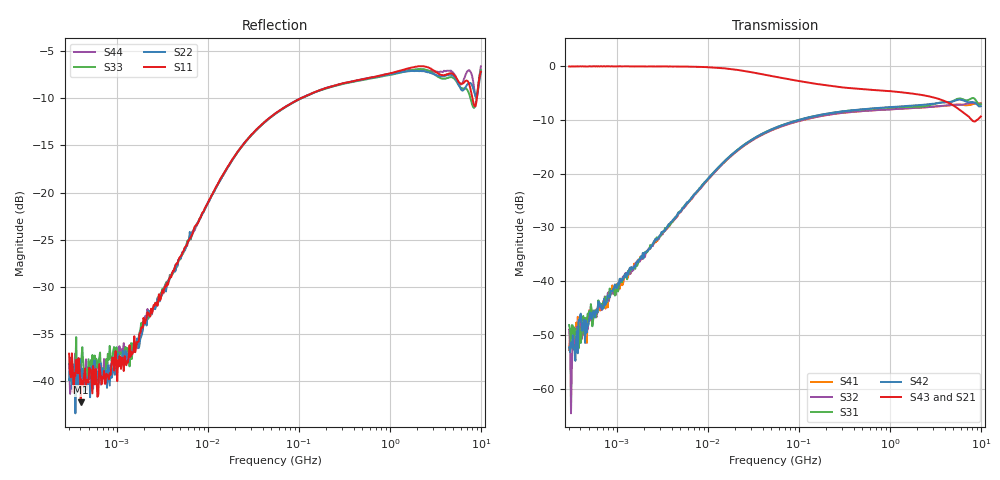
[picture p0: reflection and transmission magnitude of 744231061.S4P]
! This data is being provided by Wuerth Elektronik eiSos GmbH & Co. KG to the industry for analysis.
! Document information:
! Version:rev19a Date: 16/12/2019
! Component information:
! Match Code: WE-CNSW P/N: 744231061 Size: 0805
! Disclaimer:  While Würth Elektronik eiSos has made every reasonable effort to ensure the accuracy
! of the information provided, Würth Elektronik eiSos does not guarantee the exemption of error on the
! data collection measurements, nor does Würth Elektronik eiSos guarantee that the information is current.
! Würth Elektronik eiSos reserves the right to make any adjustments at any time without notice.
! Würth Elektronik eiSos expressly disclaims all implied warranties regarding this measurement data collection.
! Note 1  This data measurement is representative according to the product implementation into the fixture.
! Component behavior is sensitive to implementation into the fixture, which includes board
! materials, trace geometry information, connector pin out, layer connection, use of de-embedding
! techniques, etc.
! Note 2 - The fixture was designed specifically to match the 50 Ohm line impedance, as well as the connector impedance,
! in order to accomplish a reliable measurement without reflections in the trace. Any other implementation of the fixture will change the obtained
! measurement performance. The used fixture behavior was de-embedded to accomplish reliable measurement results.
! The test setup consisted of the following:
!  - Agilent VNA E5071C or E5071B
!  - Calibrations are SOLT (short open load thru)
!  - De-embedding of the SMA's or line cards were included
!  - Equipment Settings -
!  - Sampling - 501 points
!  - IF BW  70 kHz
!  - Averaging  Not used
!  Port 1----->|1|  |2| -----> Port 3
!  |  DUT  |
!  Port 2----->|3|  |4| -----> Port 4
!*VNA Port --> |Port in Datasheet|
! |Port in Datasheet| --> VNA Port
! For further information regarding this testing, please contact
! Wuerth Elektronik eiSos
! Contact: EDA team in QDC
! Email: libraries@we-online.com or libraries@we-online.de
# Hz S dB R 50
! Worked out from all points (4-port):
!   501 points, 300 kHz to 10 GHz, reference 50 ohm
!   strongest paths, dB at 300 kHz, 4.054 MHz, 54.77 MHz, 740.1 MHz, 10 GHz:
!     S43: -0.1, -0.1, -2.0, -4.5, -9.4
!     S21: 0.0, -0.1, -2.0, -4.5, -9.7
!     S42: -52.3, -28.8, -11.5, -7.8, -7.4
!     S31: -48.2, -29.1, -11.5, -7.8, -7.1
!     S32: -49.0, -29.0, -11.7, -8.2, -6.9
!     S41: -52.8, -28.9, -11.7, -8.2, -6.9
!   lowest |S11| = -42.3 dB at 402.7 kHz (marker M1), VSWR 1.02, Z = 49.4 + j0.478 ohm
!   |S11| at or under -10 dB: start of sweep to 104.9 MHz; 8.066 GHz to 9.03 GHz (964.7 MHz wide, 11.3 % of centre)
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300000  -37.11 140.6  -0.03 1.3  -52.13 94.8  -58.04 -104.1
        -0.04 1.4  -39.91 145.9  -52.39 -108.4  -51.44 105.7
        -48.17 103.2  -49.04 -95.1  -38.15 133.6  -0.06 1.3
        -52.83 -100.2  -52.30 95.5  -0.06 1.2  -38.24 137.6
402688  -42.26 141.1  -0.04 1.4  -50.08 97.1  -49.30 -104.4
        -0.03 1.4  -39.51 140.8  -52.70 -91.2  -48.26 94.9
        -51.51 100.7  -47.41 -73.1  -38.49 138.7  -0.04 1.4
        -46.73 -88.2  -46.04 76.7  -0.03 1.3  -37.66 149.4
1437678  -36.86 115.5  -0.03 0.9  -37.47 88.3  -37.71 -88.0
         -0.03 0.9  -37.31 128.6  -38.00 -90.0  -37.83 90.8
         -37.94 89.6  -37.41 -93.3  -35.98 121.5  -0.04 0.8
         -37.82 -88.2  -37.89 92.2  -0.04 0.8  -37.05 130.6
3.292992e7  -13.48 51.0  -1.24 -9.8  -13.30 49.4  -13.47 -131.6
            -1.24 -9.7  -13.49 50.9  -13.47 -131.6  -13.31 49.5
            -13.32 49.3  -13.50 -131.5  -13.52 51.0  -1.24 -9.7
            -13.49 -131.6  -13.34 49.5  -1.24 -9.7  -13.55 50.8
1.476506e9  -6.91 -1.1  -5.01 -28.7  -7.57 4.0  -7.87 151.0
            -5.01 -28.7  -7.16 0.7  -7.86 150.3  -7.44 5.0
            -7.57 4.2  -7.87 150.4  -7.17 -1.8  -4.94 -28.4
            -7.88 151.2  -7.44 5.2  -4.94 -28.4  -7.09 1.3
4.961645e9  -7.43 -21.0  -7.49 -84.4  -6.49 -1.7  -7.16 78.5
            -7.49 -84.5  -7.59 -6.1  -7.18 76.7  -6.59 -1.9
            -6.47 -1.5  -7.19 77.3  -7.82 -21.0  -7.26 -83.9
            -7.20 78.9  -6.55 -1.8  -7.28 -84.0  -7.29 -4.5
1e10  -7.17 -15.8  -9.68 -155.2  -7.06 -15.3  -6.97 2.8
      -9.68 -155.1  -7.24 -2.5  -7.04 4.8  -7.35 -12.3
      -7.09 -15.9  -6.94 5.7  -7.01 -3.9  -9.34 -156.6
      -6.92 4.1  -7.44 -12.6  -9.36 -155.9  -6.60 -16.2
